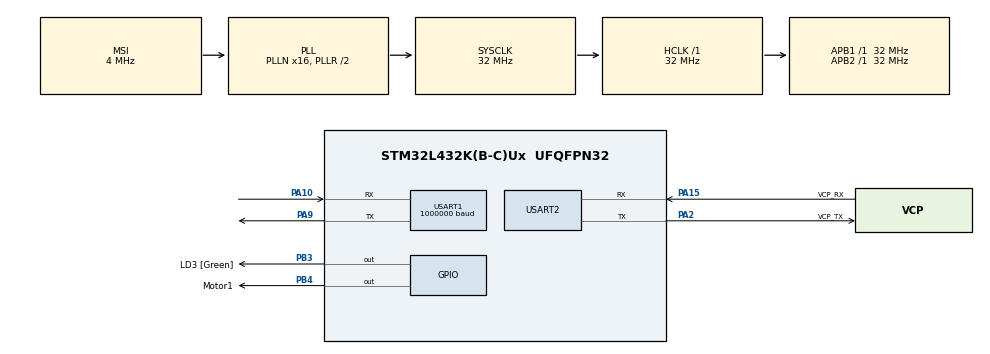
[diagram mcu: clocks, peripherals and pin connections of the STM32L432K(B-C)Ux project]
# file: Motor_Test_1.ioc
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Mcu.Family=STM32L4
Mcu.Name=STM32L432K(B-C)Ux
Mcu.Package=UFQFPN32
NVIC.PriorityGroup=NVIC_PRIORITYGROUP_4
NVIC.USART1_IRQn=true\:0\:0\:false\:false\:true\:true
NVIC.USART2_IRQn=true\:0\:0\:false\:false\:true\:true
PA0.GPIO_Label=MCO [High speed clock in]
PA0.Mode=HSE-External-Clock-Source-for-LittleOrca
PA0.Signal=RCC_CK_IN
PA10.Mode=Asynchronous
PA10.Signal=USART1_RX
PA13\ (JTMS-SWDIO).GPIO_Label=SWDIO
PA13\ (JTMS-SWDIO).Mode=Serial_Wire
PA13\ (JTMS-SWDIO).Signal=SYS_JTMS-SWDIO
PA14\ (JTCK-SWCLK).GPIO_Label=SWCLK
PA14\ (JTCK-SWCLK).Mode=Serial_Wire
PA14\ (JTCK-SWCLK).Signal=SYS_JTCK-SWCLK
PA15\ (JTDI).GPIO_Label=VCP_RX
PA15\ (JTDI).Mode=Asynchronous
PA15\ (JTDI).Signal=USART2_RX
PA2.GPIO_Label=VCP_TX
PA2.Mode=Asynchronous
PA2.Signal=USART2_TX
PA9.Mode=Asynchronous
PA9.Signal=USART1_TX
PB3\ (JTDO-TRACESWO).GPIO_Label=LD3 [Green]
PB3\ (JTDO-TRACESWO).Signal=GPIO_Output
PB4\ (NJTRST).GPIO_Label=Motor1
PB4\ (NJTRST).Signal=GPIO_Output
PC14-OSC32_IN\ (PC14).Mode=LSE-External-Oscillator
PC14-OSC32_IN\ (PC14).Signal=RCC_OSC32_IN
PC15-OSC32_OUT\ (PC15).Mode=LSE-External-Oscillator
PC15-OSC32_OUT\ (PC15).Signal=RCC_OSC32_OUT
ProjectManager.HeapSize=0x200
ProjectManager.StackSize=0x400
ProjectManager.TargetToolchain=SW4STM32
RCC.AHBFreq_Value=32000000
RCC.APB1Freq_Value=32000000
RCC.APB1TimFreq_Value=32000000
RCC.APB2Freq_Value=32000000
RCC.APB2TimFreq_Value=32000000
RCC.CortexFreq_Value=32000000
RCC.HCLKFreq_Value=32000000
RCC.HSE_VALUE=8000000
RCC.HSI16_VALUE=16000000
RCC.HSI48_VALUE=48000000
RCC.HSI_VALUE=16000000
RCC.MSI_VALUE=4000000
RCC.PLLMUL=RCC_PLLMUL_4
RCC.PLLN=16
RCC.SYSCLKFreq_VALUE=32000000
RCC.SYSCLKSource=RCC_SYSCLKSOURCE_PLLCLK
RCC.VCOOutputFreq_Value=64000000
USART1.BaudRate=1000000
USART1.OverSampling=UART_OVERSAMPLING_8
USART1.VirtualMode-Asynchronous=VM_ASYNC
USART1.WordLength=WORDLENGTH_8B
USART2.VirtualMode-Asynchronous=VM_ASYNC
USART2.WordLength=WORDLENGTH_8B
board=NUCLEO-L432KC

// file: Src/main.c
/**
 ******************************************************************************
 * @file           : main.c
 * @brief          : Main program body
 ******************************************************************************
 ** This notice applies to any and all portions of this file
 * that are not between comment pairs USER CODE BEGIN and
 * USER CODE END. Other portions of this file, whether
 * inserted by the user or by software development tools
 * are owned by their respective copyright owners.
 *
 * COPYRIGHT(c) 2018 STMicroelectronics
 *
 * Redistribution and use in source and binary forms, with or without modification,
 * are permitted provided that the following conditions are met:
 *   1. Redistributions of source code must retain the above copyright notice,
 *      this list of conditions and the following disclaimer.
 *   2. Redistributions in binary form must reproduce the above copyright notice,
 *      this list of conditions and the following disclaimer in the documentation
 *      and/or other materials provided with the distribution.
 *   3. Neither the name of STMicroelectronics nor the names of its contributors
 *      may be used to endorse or promote products derived from this software
 *      without specific prior written permission.
 *
 * THIS SOFTWARE IS PROVIDED BY THE COPYRIGHT HOLDERS AND CONTRIBUTORS "AS IS"
 * AND ANY EXPRESS OR IMPLIED WARRANTIES, INCLUDING, BUT NOT LIMITED TO, THE
 * IMPLIED WARRANTIES OF MERCHANTABILITY AND FITNESS FOR A PARTICULAR PURPOSE ARE
 * DISCLAIMED. IN NO EVENT SHALL THE COPYRIGHT HOLDER OR CONTRIBUTORS BE LIABLE
 * FOR ANY DIRECT, INDIRECT, INCIDENTAL, SPECIAL, EXEMPLARY, OR CONSEQUENTIAL
 * DAMAGES (INCLUDING, BUT NOT LIMITED TO, PROCUREMENT OF SUBSTITUTE GOODS OR
 * SERVICES; LOSS OF USE, DATA, OR PROFITS; OR BUSINESS INTERRUPTION) HOWEVER
 * CAUSED AND ON ANY THEORY OF LIABILITY, WHETHER IN CONTRACT, STRICT LIABILITY,
 * OR TORT (INCLUDING NEGLIGENCE OR OTHERWISE) ARISING IN ANY WAY OUT OF THE USE
 * OF THIS SOFTWARE, EVEN IF ADVISED OF THE POSSIBILITY OF SUCH DAMAGE.
 *
 ******************************************************************************
 */
#include "main.h"
#include "stm32l4xx_hal.h"
#include "usart.h"
#include "gpio.h"

/* USER CODE BEGIN Includes */
#include "DynamixelProtocolV1.h"
#include "AX12A.h"
#include "Dynamixel_HandleTypeDef.h"
#include "string.h"

/* USER CODE END Includes */

/* USER CODE BEGIN PV */
/* Private variables ---------------------------------------------------------*/

/* USER CODE END PV */

void SystemClock_Config(void);

/* USER CODE BEGIN PFP */
/* Private function prototypes -----------------------------------------------*/

/* USER CODE END PFP */

/* USER CODE BEGIN 0 */
char rx_buf[4] = "...."; //receives chars from uart, 1)AX##, 2)M1##, 3)M2##
uint8_t rx_valid = -1; //stores valid id in non-string format

Dynamixel_HandleTypeDef motorAX;
Dynamixel_HandleTypeDef motorMX;

int valid_rx(char *rx);
/* USER CODE END 0 */

int main(void) {

	/* MCU Configuration----------------------------------------------------------*/

	/* Reset of all peripherals, Initializes the Flash interface and the Systick. */
	HAL_Init();

	/* Configure the system clock */
	SystemClock_Config();

	/* Initialize all configured peripherals */
	MX_GPIO_Init();
	MX_USART2_UART_Init();
	MX_USART1_UART_Init(); //default baud rate is 1M

	/* USER CODE BEGIN 2 */
	enum cases {
		INVALID, VALID_AX, // e.g. AX01
		VALID_MX1, // e.g. M101
		VALID_MX2, // e.g. M201
		QUERY, // e.g. ?...
		NA
	} currCase, pastCase;

	uint8_t id_show = -1;
	currCase = NA; //case 1:AX12 at 1M, case 2: MX28 at 57600, case 3: MX28 at 1M
	pastCase = NA; //needed for isInitialized condition

	/* USER CODE END 2 */

	/* Infinite loop */
	while (1) {

		/* USER CODE BEGIN 3 */
		HAL_StatusTypeDef status;
		do {
			status = HAL_UART_Receive(&huart2, (unsigned char *)rx_buf, 4, 1000);
		} while (status != HAL_OK);

		currCase = valid_rx(rx_buf);

		switch (currCase) {
		case INVALID:
			HAL_UART_Transmit(&huart2, (unsigned char *) "invalid", 7, 1000);
			break;

		case VALID_AX: //1. if valid id is received, motortype AX
			MX_USART1_UART_Init_X(1000000);
			Dynamixel_Init(&motorAX, 0xFE, &huart1, Motor1_GPIO_Port,
			Motor1_Pin, AX12ATYPE);
			Dynamixel_SetID(&motorAX, rx_valid);

			Dynamixel_SetBaudRate(&motorAX, 1000000);
			HAL_UART_Transmit(&huart2, (unsigned char *) "valid, AX\n", 10, 1000);
			pastCase = VALID_AX;
			break;

		case VALID_MX1: //2. if valid id is received, motortype MX at 57600 bps
			MX_USART1_UART_Init_X(57600);
			Dynamixel_Init(&motorMX, 0xFE, &huart1, Motor1_GPIO_Port,
			Motor1_Pin, MX28TYPE);
			Dynamixel_SetID(&motorMX, rx_valid);

			Dynamixel_SetBaudRate(&motorMX, 1000000);
			MX_USART1_UART_Init_X(1000000);

			HAL_UART_Transmit(&huart2, (unsigned char *) "valid, MX1\n", 11, 1000);
			pastCase = VALID_MX1;
			break;

		case VALID_MX2:
			//3. if valid id is received, motortype MX at 1M bps
			MX_USART1_UART_Init_X(1000000);
			Dynamixel_Init(&motorAX, 0xFE, &huart1, Motor1_GPIO_Port,
			Motor1_Pin, MX28TYPE);
			Dynamixel_SetID(&motorMX, rx_valid);

			Dynamixel_SetBaudRate(&motorMX, 1000000);
			HAL_UART_Transmit(&huart2, (unsigned char *) "valid, MX2\n", 11, 1000);
			pastCase = VALID_MX2;
			break;

		case QUERY:
			//if ID is requested, displays the last stored motor's ID
			//1. show motor type and store the IDs specific to the motor
			if (pastCase == VALID_AX) {
				id_show = motorAX._ID;
				HAL_UART_Transmit(&huart2, (unsigned char *) "Motor:AX\t", 9, 1000);
			} else if (pastCase == VALID_MX1 || pastCase == VALID_MX2) {
				id_show = motorMX._ID;
				HAL_UART_Transmit(&huart2, (unsigned char *) "Motor:MX\t", 9, 1000);
			}

			//1. show motor IDs
			if (id_show == 0xFE) {
				HAL_UART_Transmit(&huart2, (unsigned char *) "ID:0xFE\n", 8, 1000);
			} else if(id_show != -1) { //if ID was assigned
				char mes_id[10];
				uint8_t strlength;
				strlength = sprintf(mes_id, "ID: %d\n", id_show);
				HAL_UART_Transmit(&huart2, (uint8_t*) mes_id, strlength, 1000);
			}
			break;
		default:
			break;
		}

	}
	/* USER CODE END 3 */

}

void SystemClock_Config(void) {

	RCC_OscInitTypeDef RCC_OscInitStruct;
	RCC_ClkInitTypeDef RCC_ClkInitStruct;
	RCC_PeriphCLKInitTypeDef PeriphClkInit;

	/**Configure LSE Drive Capability
	 */
	HAL_PWR_EnableBkUpAccess();

	__HAL_RCC_LSEDRIVE_CONFIG(RCC_LSEDRIVE_LOW);

	/**Initializes the CPU, AHB and APB busses clocks
	 */
	RCC_OscInitStruct.OscillatorType = RCC_OSCILLATORTYPE_LSE
			| RCC_OSCILLATORTYPE_MSI;
	RCC_OscInitStruct.LSEState = RCC_LSE_ON;
	RCC_OscInitStruct.MSIState = RCC_MSI_ON;
	RCC_OscInitStruct.MSICalibrationValue = 0;
	RCC_OscInitStruct.MSIClockRange = RCC_MSIRANGE_6;
	RCC_OscInitStruct.PLL.PLLState = RCC_PLL_ON;
	RCC_OscInitStruct.PLL.PLLSource = RCC_PLLSOURCE_MSI;
	RCC_OscInitStruct.PLL.PLLN = 16;
	RCC_OscInitStruct.PLL.PLLP = RCC_PLLP_DIV7;
	RCC_OscInitStruct.PLL.PLLQ = RCC_PLLQ_DIV2;
	RCC_OscInitStruct.PLL.PLLR = RCC_PLLR_DIV2;
	if (HAL_RCC_OscConfig(&RCC_OscInitStruct) != HAL_OK) {
		_Error_Handler(__FILE__, __LINE__);
	}

	/**Initializes the CPU, AHB and APB busses clocks
	 */
	RCC_ClkInitStruct.ClockType = RCC_CLOCKTYPE_HCLK | RCC_CLOCKTYPE_SYSCLK
			| RCC_CLOCKTYPE_PCLK1 | RCC_CLOCKTYPE_PCLK2;
	RCC_ClkInitStruct.SYSCLKSource = RCC_SYSCLKSOURCE_PLLCLK;
	RCC_ClkInitStruct.AHBCLKDivider = RCC_SYSCLK_DIV1;
	RCC_ClkInitStruct.APB1CLKDivider = RCC_HCLK_DIV1;
	RCC_ClkInitStruct.APB2CLKDivider = RCC_HCLK_DIV1;

	if (HAL_RCC_ClockConfig(&RCC_ClkInitStruct, FLASH_LATENCY_1) != HAL_OK) {
		_Error_Handler(__FILE__, __LINE__);
	}

	PeriphClkInit.PeriphClockSelection = RCC_PERIPHCLK_USART1
			| RCC_PERIPHCLK_USART2;
	PeriphClkInit.Usart1ClockSelection = RCC_USART1CLKSOURCE_PCLK2;
	PeriphClkInit.Usart2ClockSelection = RCC_USART2CLKSOURCE_PCLK1;
	if (HAL_RCCEx_PeriphCLKConfig(&PeriphClkInit) != HAL_OK) {
		_Error_Handler(__FILE__, __LINE__);
	}

	/**Configure the main internal regulator output voltage
	 */
	if (HAL_PWREx_ControlVoltageScaling(PWR_REGULATOR_VOLTAGE_SCALE1)
			!= HAL_OK) {
		_Error_Handler(__FILE__, __LINE__);
	}

	/**Configure the Systick interrupt time
	 */
	HAL_SYSTICK_Config(HAL_RCC_GetHCLKFreq() / 1000);

	/**Configure the Systick
	 */
	HAL_SYSTICK_CLKSourceConfig(SYSTICK_CLKSOURCE_HCLK);

	/**Enable MSI Auto calibration
	 */
	HAL_RCCEx_EnableMSIPLLMode();

	/* SysTick_IRQn interrupt configuration */
	HAL_NVIC_SetPriority(SysTick_IRQn, 0, 0);
}

/* USER CODE BEGIN 4 */
int valid_rx(char *rx) {
	/* Checks if received buffer is a valid ID input
	 *
	 * Returns: 0: INVALID / not a valid input
	 * 			1: VALID_AX / valid id, motor type is AX
	 * 			2: VALID_MX1 / valid id, motor type is MX, baudrate at 57600 for IDing
	 * 			3. VALID_MX2 / valid id, motor type is MX
	 *
	 */
	int idCheck = 0;
	/*1. return if query case*/
	if (rx[0] == '?') {
		return 4;
	}
	/*2. check if received ID is valid*/
	//NOTED: atoi(CHARACTER) instead of STRING causes problems
	uint16_t id_num = (rx[2] - '0') * 10 + (rx[3] - '0');
	if (id_num > 0 && id_num < 100) { //valid id is 1-18 at the moment, but set to 1-100 for now
		rx_valid = id_num;
		idCheck = 1;
	} else if (rx_buf[2] == 'F' && rx_buf[3] == 'E') { //0xFE broadcast
		rx_valid = 0xFE;
		idCheck = 1;
	} else {
		idCheck = 0;
		return 0;
	}
	/*3. check if received motor type is valid*/
	if (idCheck == 1) { //if ID id valid, return cases 1, 2, or 3
		if (rx_buf[0] == 'A' && rx_buf[1] == 'X') {
			return 1; //case 1: AX motor, 1M
		} else if (rx_buf[0] == 'M' && rx_buf[1] == '1') {
			return 2; //case 2: MX motor, 57600
		} else if (rx_buf[0] == 'M' && rx_buf[1] == '2') {
			return 3; //case 3: MX motor, 1M
		}
	}
	return 0; //all other cases, return 0, invalid
}

/* USER CODE END 4 */

void _Error_Handler(char *file, int line) {
	while (1) {
	}
}

/************************ (C) COPYRIGHT STMicroelectronics *****END OF FILE****/
